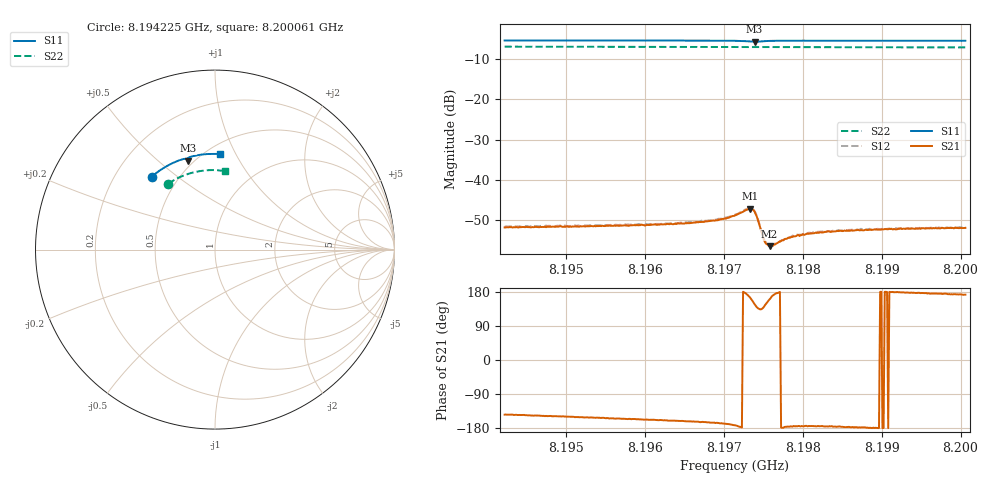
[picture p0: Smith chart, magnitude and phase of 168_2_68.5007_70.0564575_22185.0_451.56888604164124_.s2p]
#  HZ  S  RI  R  50.00
! Rohde & Schwarz Vector Network Analyzer
! Rohde-Schwarz,ZNB20-2Port,1311601062101988,3.16
! Created: UTC 3/20/2024, 5:11:13 PM
! freq[Hz]  re:S11  im:S11  re:S21  im:S21  re:S12  im:S12  re:S22  im:S22
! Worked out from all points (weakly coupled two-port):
!   401 points, 8.194225 GHz to 8.200061 GHz, reference 50 ohm
!   highest |S21| = -47.17 dB at 8.197333 GHz (marker M1); lowest = -56.5 dB at 8.197581 GHz (marker M2)
!   lowest |S11| = -5.7 dB at 8.197391 GHz (marker M3), VSWR 3.15, Z = 23.3 + j31.5 ohm
!   |S11| at or under -10 dB: nowhere
!   |S22| runs from -7.1 to -6.9 dB; largest |S21 - S12| = 0.00023
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8.1942251e9  -0.3521 0.4072  -0.00208 -0.0015  -0.00217 -0.00152  -0.2607 0.3676
8.1952027e9  -0.2966 0.4485  -0.0023 -0.00128  -0.00242 -0.00125  -0.2136 0.3955
8.1961803e9  -0.2358 0.4822  -0.00258 -0.000999  -0.00268 -0.000925  -0.1631 0.4173
8.1966764e9  -0.2027 0.4962  -0.00283 -0.000886  -0.0029 -0.000775  -0.1365 0.4256
8.1969098e9  -0.1861 0.502  -0.00305 -0.000781  -0.00315 -0.000645  -0.1239 0.4292
8.1971433e9  -0.1675 0.5061  -0.00357 -0.00049  -0.00368 -0.000343  -0.111 0.4322
8.1972892e9  -0.1539 0.5042  -0.00421 0.000435  -0.00428 0.000601  -0.1027 0.4337
8.197333e9  -0.1507 0.5008  -0.00423 0.00112  -0.00423 0.00135  -0.1004 0.4341
8.1973621e9  -0.1504 0.4979  -0.00395 0.0017  -0.00396 0.00188  -0.0988 0.4343
8.1973913e9  -0.1519 0.4956  -0.00338 0.00217  -0.00335 0.00235  -0.0973 0.4346
8.1974351e9  -0.1556 0.4962  -0.00227 0.00216  -0.00223 0.00232  -0.0951 0.4351
8.1975081e9  -0.1562 0.5035  -0.00139 0.00118  -0.00137 0.00125  -0.0912 0.4361
8.1975372e9  -0.1546 0.5061  -0.00137 0.000837  -0.00138 0.000938  -0.0894 0.4365
8.197581e9  -0.1514 0.5093  -0.00141 0.000516  -0.0014 0.000553  -0.087 0.4369
8.1976248e9  -0.1479 0.5117  -0.0015 0.000249  -0.00155 0.000333  -0.0846 0.4371
8.1977999e9  -0.134 0.5174  -0.00185 -0.000128  -0.0019 -7.42e-05  -0.0747 0.4387
8.197902e9  -0.1263 0.5196  -0.00198 -0.00017  -0.00204 -0.000127  -0.0691 0.4395
8.1981209e9  -0.1103 0.5234  -0.00215 -0.000216  -0.00219 -0.000112  -0.0568 0.441
8.1983106e9  -0.0967 0.526  -0.00229 -0.000192  -0.00226 -0.000104  -0.046 0.4418
8.1987629e9  -0.0645 0.5305  -0.00236 -9.03e-05  -0.00242 2.31e-05  -0.0204 0.4429
8.1990985e9  -0.0406 0.5324  -0.00246 7.45e-06  -0.00248 0.000144  -0.00125 0.4428
8.2000615e9  0.0278 0.5324  -0.00251 0.000333  -0.00252 0.000459  0.0533 0.4377
